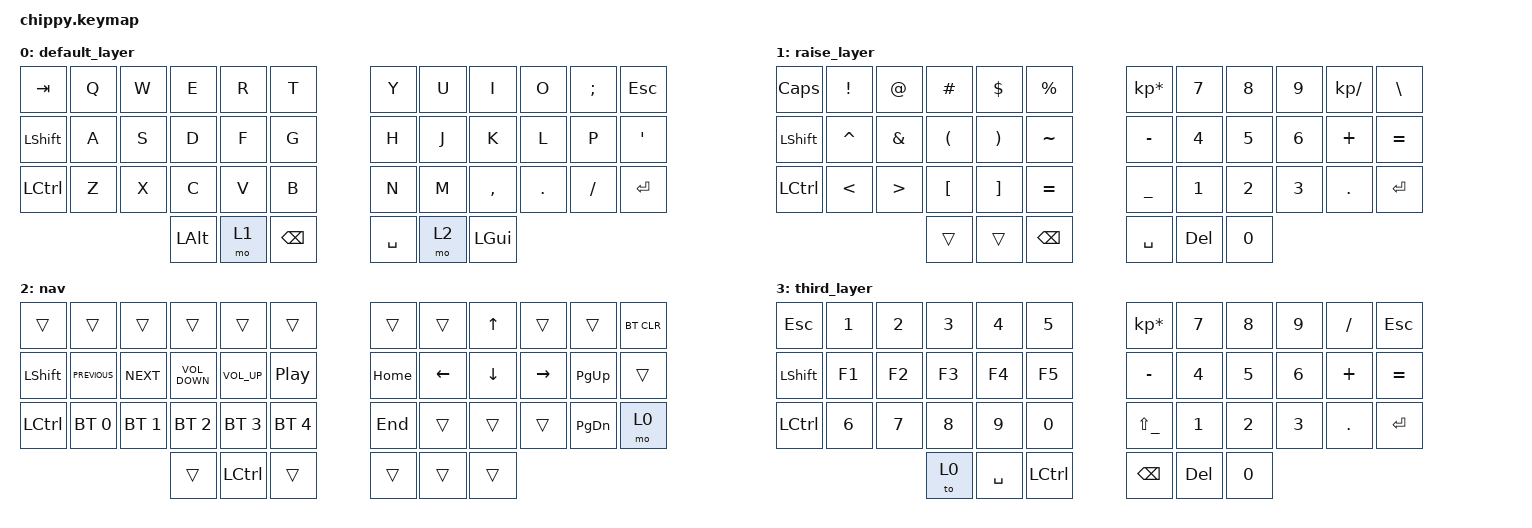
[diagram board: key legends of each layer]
#include <behaviors.dtsi>
#include <dt-bindings/zmk/bt.h>
#include <dt-bindings/zmk/keys.h>

/ {
    combos {
        compatible = "zmk,combos";

        escape {
            bindings = <&to 3>;
            key-positions = <37 40>;
        };
    };

    keymap {
        compatible = "zmk,keymap";

        default_layer {
            // -----------------------------------------------------------------------------------------
            // |  TAB |  Q  |  W  |  E  |  R  |  T  |   |  Y  |  U   |  I  |  O  |  P  | BKSP |
            // | CTRL |  A  |  S  |  D  |  F  |  G  |   |  H  |  J   |  K  |  L  |  ;  |  '   |
            // | SHFT |  Z  |  X  |  C  |  V  |  B  |   |  N  |  M   |  ,  |  .  |  /  | ESC  |
            //                    | GUI | LWR | SPC |   | ENT | RSE  | ALT |

            bindings = <
&kp TAB           &kp Q  &kp W  &kp E         &kp R  &kp T            &kp Y      &kp U  &kp I         &kp O    &kp SEMICOLON  &kp ESCAPE
&kp LEFT_SHIFT    &kp A  &kp S  &kp D         &kp F  &kp G            &kp H      &kp J  &kp K         &kp L    &kp P          &kp SQT
&kp LEFT_CONTROL  &kp Z  &kp X  &kp C         &kp V  &kp B            &kp N      &kp M  &kp COMMA     &kp DOT  &kp FSLH       &kp ENTER
                                &kp LEFT_ALT  &mo 1  &kp BACKSPACE    &kp SPACE  &mo 2  &kp LEFT_GUI
            >;
        };

        raise_layer {
            // -----------------------------------------------------------------------------------------
            // |  TAB |  !  |  @  |  #  |  $  |  %  |   |  ^  |  &  |  *  |  (  |  )  | BKSP |
            // | CTRL |     |     |     |     |     |   |  -  |  =  |  [  |  ]  |  \  |  `   |
            // | SHFT |     |     |     |     |     |   |  _  |  +  |  {  |  }  | "|" |  ~   |
            //                    | GUI |     | SPC |   | ENT |     | ALT |

            bindings = <
&kp CAPSLOCK  &kp EXCL       &kp AT            &kp HASH              &kp DLLR               &kp PRCNT    &kp KP_MULTIPLY  &kp N7      &kp N8  &kp N9  &kp KP_DIVIDE  &kp BACKSLASH
&kp LSHFT     &kp CARET      &kp AMPERSAND     &kp LEFT_PARENTHESIS  &kp RIGHT_PARENTHESIS  &kp TILDE    &kp MINUS        &kp N4      &kp N5  &kp N6  &kp PLUS       &kp EQUAL
&kp LCTRL     &kp LESS_THAN  &kp GREATER_THAN  &kp LEFT_BRACKET      &kp RIGHT_BRACKET      &kp EQUAL    &kp UNDER        &kp N1      &kp N2  &kp N3  &kp PERIOD     &kp ENTER
                                               &trans                &trans                 &kp BSPC     &kp SPACE        &kp DELETE  &kp N0
            >;
        };

        nav {
            // -----------------------------------------------------------------------------------------
            // |  TAB |  1  |  2  |  3  |  4  |  5  |   |  6  |  7  |  8  |  9  |  0  | BKSP |
            // | BTCLR| BT1 | BT2 | BT3 | BT4 | BT5 |   | LFT | DWN |  UP | RGT |     |      |
            // | SHFT |     |     |     |     |     |   |     |     |     |     |     |      |
            //                    | GUI |     | SPC |   | ENT |     | ALT |

            bindings = <
&trans     &trans          &trans        &trans             &trans           &trans              &trans    &trans    &kp UP    &trans     &trans     &bt BT_CLR
&kp LSHFT  &kp C_PREVIOUS  &kp C_NEXT    &kp C_VOLUME_DOWN  &kp C_VOLUME_UP  &kp C_PLAY_PAUSE    &kp HOME  &kp LEFT  &kp DOWN  &kp RIGHT  &kp PG_UP  &trans
&kp LCTRL  &bt BT_SEL 0    &bt BT_SEL 1  &bt BT_SEL 2       &bt BT_SEL 3     &bt BT_SEL 4        &kp END   &trans    &trans    &trans     &kp PG_DN  &mo 0
                                         &trans             &kp LCTRL        &trans              &trans    &trans    &trans
            >;
        };

        third_layer {
            bindings = <
&kp ESC    &kp N1  &kp N2  &kp N3  &kp N4     &kp N5       &kp KP_MULTIPLY  &kp N7   &kp N8  &kp N9  &kp FSLH  &kp ESC
&kp LSHFT  &kp F1  &kp F2  &kp F3  &kp F4     &kp F5       &kp MINUS        &kp N4   &kp N5  &kp N6  &kp PLUS  &kp EQUAL
&kp LCTRL  &kp N6  &kp N7  &kp N8  &kp N9     &kp N0       &kp LS(UNDER)    &kp N1   &kp N2  &kp N3  &kp DOT   &kp RET
                           &to 0   &kp SPACE  &kp LCTRL    &kp BSPC         &kp DEL  &kp N0
            >;
        };
    };
};
